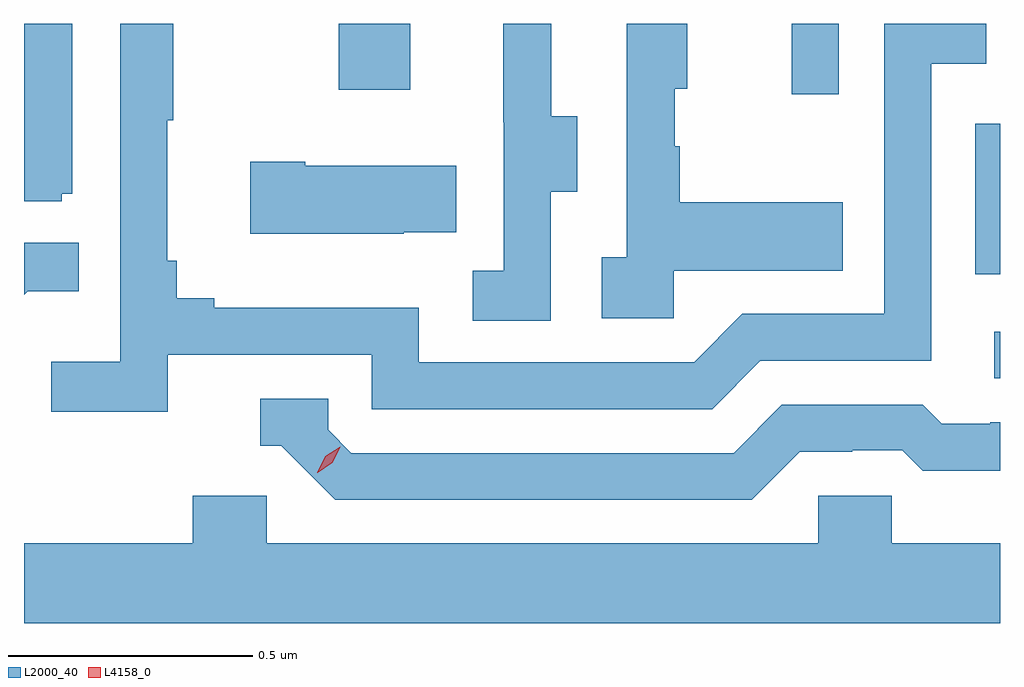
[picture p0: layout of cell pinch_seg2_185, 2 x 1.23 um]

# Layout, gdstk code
import gdstk
lib = gdstk.Library(unit=1e-6, precision=1e-09)
def R(c, l, rs):  # rectangles x0, y0, x1, y1
    for r in rs: c.add(gdstk.rectangle(r[:2], r[2:], *l))
def P(c, l, *ps):  # polygons
    for p in ps: c.add(gdstk.Polygon(p, *l))
L2000_40 = (2000, 40)
L4158_0 = (4158, 0)

pinch_seg2_185 = lib.new_cell('pinch_seg2_185')
R(pinch_seg2_185, L2000_40, [(1082.475,634.818,1082.487,634.914), (1082.436,635.031,1082.487,635.34), (1082.06,635.4,1082.157,635.545), (1081.132,635.409,1081.279,635.545)])
P(pinch_seg2_185, L2000_40, [(1080.564,635.196),(1080.586,635.196),(1080.586,635.545),(1080.487,635.545),(1080.487,635.181),(1080.564,635.181)],
  [(1081.818,635.039),(1082.165,635.039),(1082.165,635.179),(1081.831,635.179),(1081.831,635.294),(1081.821,635.294),(1081.821,635.412),(1081.846,635.412),(1081.846,635.545),(1081.722,635.545),(1081.722,635.066),(1081.671,635.066),(1081.671,634.941),(1081.818,634.941)],
  [(1081.566,635.2),(1081.621,635.2),(1081.621,635.355),(1081.567,635.355),(1081.567,635.545),(1081.469,635.545),(1081.469,635.343),(1081.47,635.343),(1081.47,635.039),(1081.407,635.039),(1081.407,634.936),(1081.566,634.936)],
  [(1080.782,634.866),(1081.2,634.866),(1081.2,634.755),(1081.897,634.755),(1081.996,634.854),(1082.346,634.854),(1082.346,635.463),(1082.459,635.463),(1082.459,635.545),(1082.25,635.545),(1082.25,634.95),(1081.959,634.95),(1081.86,634.851),(1081.296,634.851),(1081.296,634.963),(1080.877,634.963),(1080.877,634.982),(1080.8,634.982),(1080.8,635.059),(1080.781,635.059),(1080.781,635.347),(1080.793,635.347),(1080.793,635.545),(1080.684,635.545),(1080.684,634.852),(1080.543,634.852),(1080.543,634.75),(1080.782,634.75)],
  [(1081.265,635.117),(1081.373,635.117),(1081.373,635.254),(1081.063,635.254),(1081.063,635.262),(1080.951,635.262),(1080.951,635.114),(1081.265,635.114)],
  [(1080.495,634.997),(1080.599,634.997),(1080.599,635.096),(1080.487,635.096),(1080.487,634.989)],
  [(1082.077,634.668),(1082.184,634.668),(1082.184,634.671),(1082.287,634.671),(1082.329,634.629),(1082.487,634.629),(1082.487,634.728),(1082.467,634.728),(1082.467,634.725),(1082.368,634.725),(1082.329,634.764),(1082.04,634.764),(1081.941,634.665),(1081.158,634.665),(1081.11,634.713),(1081.11,634.776),(1080.971,634.776),(1080.971,634.68),(1081.014,634.68),(1081.125,634.569),(1081.978,634.569)],
  [(1082.487,634.48),(1082.265,634.48),(1082.265,634.578),(1082.115,634.578),(1082.115,634.48),(1080.984,634.48),(1080.984,634.578),(1080.833,634.578),(1080.833,634.48),(1080.487,634.48),(1080.487,634.316),(1082.487,634.316)])
P(pinch_seg2_185, L4158_0, [(1081.088,634.625),(1081.088,634.626),(1081.104,634.658),(1081.135,634.678),(1081.135,634.678),(1081.135,634.677),(1081.119,634.645),(1081.089,634.625)])

lib.write_gds('pinch_seg2_185.gds')
